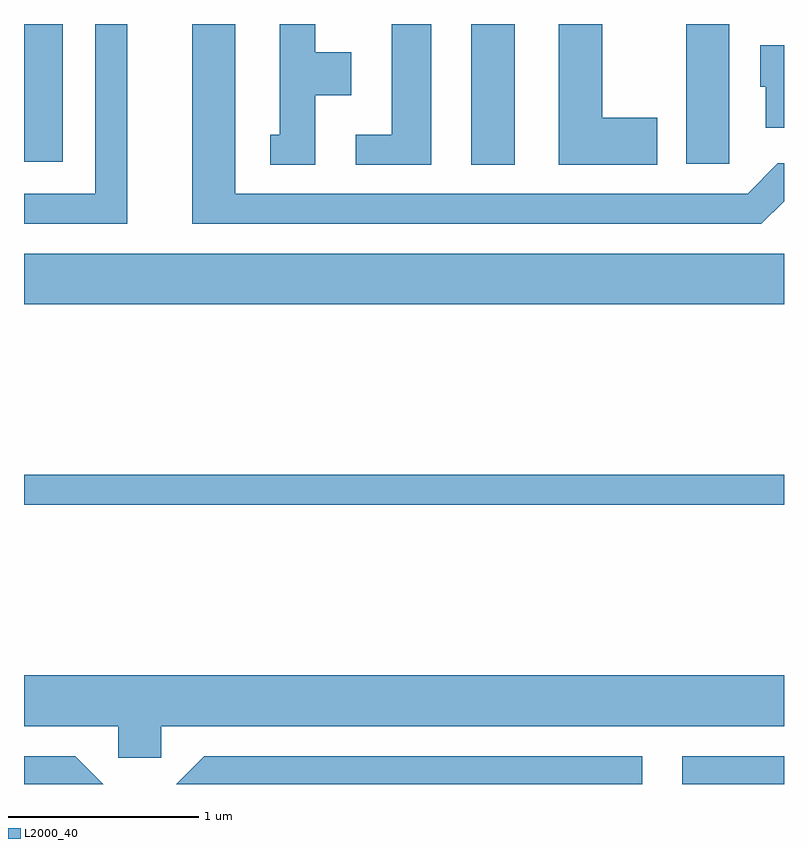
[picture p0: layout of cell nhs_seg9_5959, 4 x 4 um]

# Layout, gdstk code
import gdstk
lib = gdstk.Library(unit=1e-6, precision=1e-09)
def R(c, l, rs):  # rectangles x0, y0, x1, y1
    for r in rs: c.add(gdstk.rectangle(r[:2], r[2:], *l))
def P(c, l, *ps):  # polygons
    for p in ps: c.add(gdstk.Polygon(p, *l))
L2000_40 = (2000, 40)

nhs_seg9_5959 = lib.new_cell('nhs_seg9_5959')
R(nhs_seg9_5959, L2000_40, [(365.076,1960.432,365.611,1960.579), (361.611,1961.901,365.611,1962.059), (361.611,1962.956,365.611,1963.224), (363.966,1963.691,364.194,1964.432), (365.096,1963.696,365.324,1964.432), (361.611,1963.706,361.814,1964.432)])
P(nhs_seg9_5959, L2000_40, [(362.154,1964.432),(361.986,1964.432),(361.986,1963.539),(361.611,1963.539),(361.611,1963.381),(362.154,1963.381)],
  [(364.944,1963.939),(364.654,1963.939),(364.654,1964.432),(364.426,1964.432),(364.426,1963.691),(364.944,1963.691)],
  [(363.754,1964.432),(363.546,1964.432),(363.546,1963.849),(363.358,1963.849),(363.358,1963.691),(363.754,1963.691)],
  [(365.611,1963.5),(365.611,1963.699),(365.579,1963.699),(365.419,1963.539),(362.724,1963.539),(362.724,1964.432),(362.496,1964.432),(362.496,1963.381),(365.492,1963.381)],
  [(363.144,1964.056),(363.334,1964.056),(363.334,1964.284),(363.144,1964.284),(363.144,1964.432),(362.956,1964.432),(362.956,1963.849),(362.908,1963.849),(362.908,1963.691),(363.144,1963.691)],
  [(365.611,1964.319),(365.486,1964.319),(365.486,1964.101),(365.516,1964.101),(365.516,1963.886),(365.611,1963.886)],
  [(362.334,1960.736),(365.611,1960.736),(365.611,1961.004),(361.611,1961.004),(361.611,1960.736),(362.106,1960.736),(362.106,1960.571),(362.334,1960.571)],
  [(364.864,1960.579),(362.559,1960.579),(362.412,1960.432),(364.864,1960.432)],
  [(361.882,1960.579),(361.611,1960.579),(361.611,1960.432),(362.029,1960.432)])

lib.write_gds('nhs_seg9_5959.gds')
